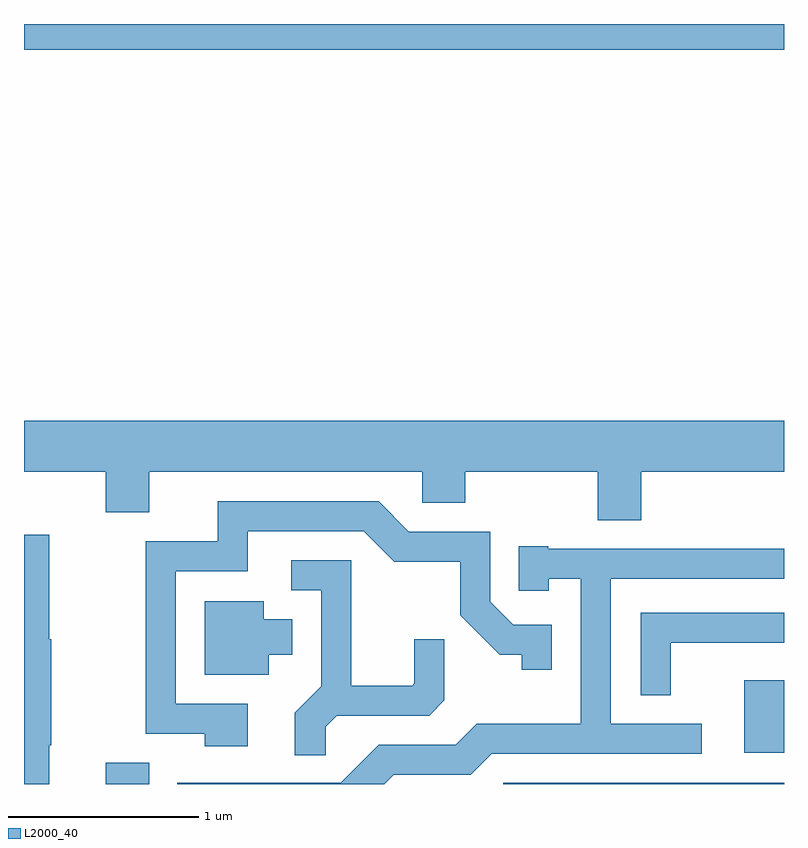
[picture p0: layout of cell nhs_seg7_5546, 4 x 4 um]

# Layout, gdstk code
import gdstk
lib = gdstk.Library(unit=1e-6, precision=1e-09)
def R(c, l, rs):  # rectangles x0, y0, x1, y1
    for r in rs: c.add(gdstk.rectangle(r[:2], r[2:], *l))
def P(c, l, *ps):  # polygons
    for p in ps: c.add(gdstk.Polygon(p, *l))
L2000_40 = (2000, 40)

nhs_seg7_5546 = lib.new_cell('nhs_seg7_5546')
R(nhs_seg7_5546, L2000_40, [(356.041,1688.252,356.269,1688.364), (358.133,1688.252,359.611,1688.259), (359.401,1688.416,359.611,1688.799), (355.611,1692.116,359.611,1692.252)])
P(nhs_seg7_5546, L2000_40, [(358.859,1689.896),(359.611,1689.896),(359.611,1690.164),(355.611,1690.164),(355.611,1689.896),(356.041,1689.896),(356.041,1689.681),(356.269,1689.681),(356.269,1689.896),(357.706,1689.896),(357.706,1689.731),(357.934,1689.731),(357.934,1689.896),(358.631,1689.896),(358.631,1689.641),(358.859,1689.641)],
  [(356.789,1688.674),(356.409,1688.674),(356.409,1689.371),(356.789,1689.371),(356.789,1689.581),(357.399,1689.581),(357.559,1689.421),(357.906,1689.421),(357.906,1689.139),(358.114,1688.931),(358.231,1688.931),(358.231,1688.853),(358.389,1688.853),(358.389,1689.089),(358.187,1689.089),(358.064,1689.212),(358.064,1689.579),(357.637,1689.579),(357.477,1689.739),(356.631,1689.739),(356.631,1689.529),(356.251,1689.529),(356.251,1688.516),(356.561,1688.516),(356.561,1688.451),(356.789,1688.451)],
  [(355.744,1688.455),(355.754,1688.455),(355.754,1689.015),(355.744,1689.015),(355.744,1689.564),(355.611,1689.564),(355.611,1688.252),(355.744,1688.252)],
  [(357.557,1688.301),(357.962,1688.301),(358.072,1688.411),(359.178,1688.411),(359.178,1688.569),(358.699,1688.569),(358.699,1689.331),(359.611,1689.331),(359.611,1689.489),(358.37,1689.489),(358.37,1689.504),(358.216,1689.504),(358.216,1689.268),(358.374,1689.268),(358.374,1689.331),(358.541,1689.331),(358.541,1688.569),(357.994,1688.569),(357.884,1688.459),(357.479,1688.459),(357.279,1688.259),(356.418,1688.259),(356.418,1688.252),(357.508,1688.252)],
  [(357.199,1688.554),(357.257,1688.611),(357.744,1688.611),(357.824,1688.692),(357.824,1689.013),(357.666,1689.013),(357.666,1688.782),(357.654,1688.769),(357.334,1688.769),(357.334,1689.429),(357.018,1689.429),(357.018,1689.271),(357.176,1689.271),(357.176,1688.767),(357.036,1688.627),(357.036,1688.403),(357.199,1688.403)],
  [(356.899,1688.931),(357.024,1688.931),(357.024,1689.119),(356.874,1689.119),(356.874,1689.214),(356.561,1689.214),(356.561,1688.826),(356.899,1688.826)],
  [(359.014,1688.996),(359.611,1688.996),(359.611,1689.154),(358.856,1689.154),(358.856,1688.718),(359.014,1688.718)])

lib.write_gds('nhs_seg7_5546.gds')
